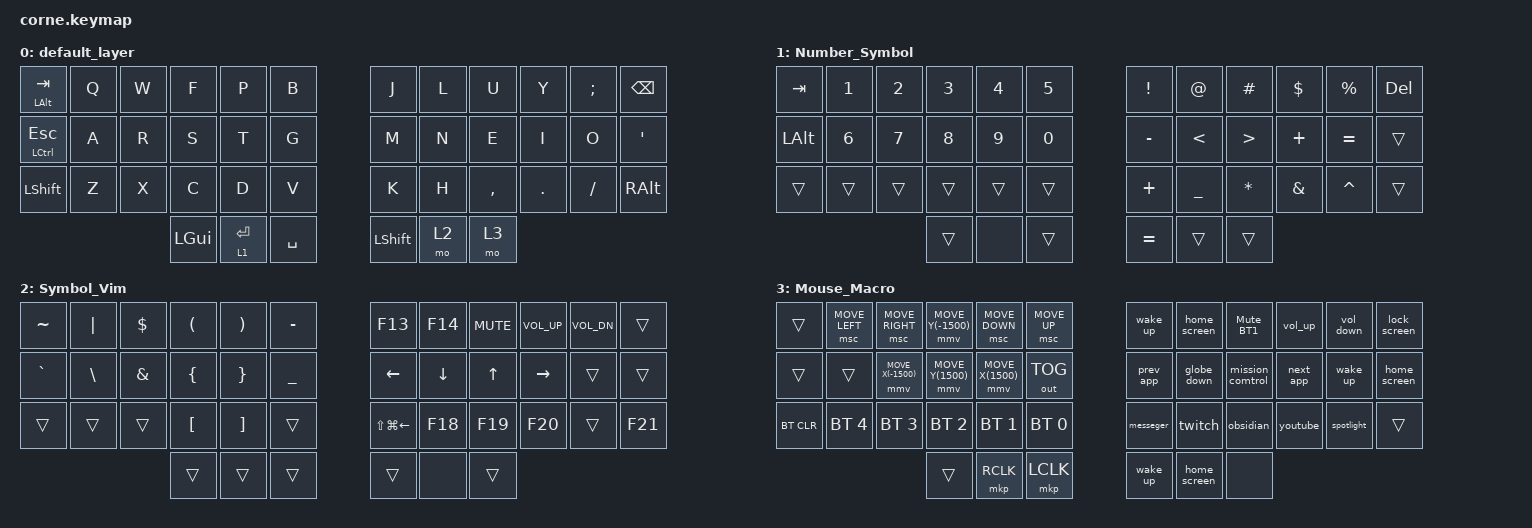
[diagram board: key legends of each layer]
/*
 * Copyright (c) 2020 The ZMK Contributors
 *
 * SPDX-License-Identifier: MIT
 */

#include <behaviors.dtsi>
#include <dt-bindings/zmk/bt.h>
#include <dt-bindings/zmk/keys.h>
#include <dt-bindings/zmk/mouse.h>
#include <dt-bindings/zmk/outputs.h>

/ {
    macros {
        Mute_BT1: Mute_BT1 {
            compatible = "zmk,behavior-macro";
            #binding-cells = <0>;
            bindings = <&out OUT_BLE &bt BT_SEL 1 &kp C_MUTE &bt BT_SEL 0 &out OUT_USB>;
            label = "MUTE_BT1";
        };

        home_screen: home_screen {
            compatible = "zmk,behavior-macro";
            #binding-cells = <0>;
            bindings = <&out OUT_BLE &bt BT_SEL 1 &kp LG(H) &bt BT_SEL 0 &out OUT_USB>;
            label = "HOME_SCREEN";
        };

        spotlight: spotlight {
            compatible = "zmk,behavior-macro";
            #binding-cells = <0>;
            bindings = <&out OUT_BLE &bt BT_SEL 1 &kp LG(SPACE)>;
            label = "SPOTLIGHT";
        };

        prev_app: globe_left {
            compatible = "zmk,behavior-macro";
            #binding-cells = <0>;
            bindings = <&out OUT_BLE &bt BT_SEL 1 &kp RA(LEFT) &bt BT_SEL 0 &out OUT_USB>;
            label = "GLOBE_LEFT";
        };

        next_app: globe_right {
            compatible = "zmk,behavior-macro";
            #binding-cells = <0>;
            bindings = <&out OUT_BLE &bt BT_SEL 1 &kp RA(RIGHT_ARROW) &bt BT_SEL 0 &out OUT_USB>;
            label = "GLOBE_RIGHT";
        };

        mission_comtrol: globe_up {
            compatible = "zmk,behavior-macro";
            #binding-cells = <0>;
            bindings = <&out OUT_BLE &bt BT_SEL 1 &kp RA(UP)>;
            label = "GLOBE_UP";
        };

        globe_down: globe_down {
            compatible = "zmk,behavior-macro";
            #binding-cells = <0>;
            bindings = <&out OUT_BLE &bt BT_SEL 1 &kp RA(DOWN)>;
            label = "GLOBE_DOWN";
        };

        vol_up: vol_up {
            compatible = "zmk,behavior-macro";
            #binding-cells = <0>;
            bindings = <&out OUT_BLE &bt BT_SEL 1 &kp C_VOLUME_UP &bt BT_SEL 0 &out OUT_USB>;
            label = "VOL_UP";
        };

        vol_down: vol_down {
            compatible = "zmk,behavior-macro";
            #binding-cells = <0>;
            bindings = <&out OUT_BLE &bt BT_SEL 1 &kp C_VOL_DN &bt BT_SEL 0 &out OUT_USB>;
            label = "VOL_DOWN";
        };

        lock_screen: lock_screen {
            compatible = "zmk,behavior-macro";
            #binding-cells = <0>;
            bindings = <&out OUT_BLE &bt BT_SEL 1 &kp LG(LC(Q)) &bt BT_SEL 0 &out OUT_USB>;
            label = "LOCK_SCREEN";
        };

        wake_up: wake_up {
            compatible = "zmk,behavior-macro";
            #binding-cells = <0>;
            bindings = <&out OUT_BLE &bt BT_SEL 1 &kp SPACE &kp SPACE &bt BT_SEL 0 &out OUT_USB>;
            label = "WAKE_UP";
        };

        messeger: messeger {
            compatible = "zmk,behavior-macro";
            #binding-cells = <0>;
            bindings = <&out OUT_BLE &bt BT_SEL 1 &kp LG(SPACE) &kp M &kp E &kp S &kp S &kp E &kp N &kp G &kp E &kp R &kp ENTER>;
            label = "MESSEGER";
        };

        obsidian: obsidian {
            compatible = "zmk,behavior-macro";
            #binding-cells = <0>;
            bindings = <&out OUT_BLE &bt BT_SEL 1 &kp LG(SPACE) &kp O &kp B &kp S &kp I &kp D &kp I &kp A &kp N &kp ENTER>;
            label = "OBSIDIAN";
        };

        twitch: twitch {
            compatible = "zmk,behavior-macro";
            #binding-cells = <0>;
            bindings = <&out OUT_BLE &bt BT_SEL 1 &kp LG(SPACE) &kp T &kp W &kp I &kp T &kp C &kp H &kp ENTER>;
            label = "TWITCH";
        };

        youtube: youtube {
            compatible = "zmk,behavior-macro";
            #binding-cells = <0>;
            bindings = <&out OUT_BLE &bt BT_SEL 1 &kp LG(SPACE) &kp Y &kp O &kp U &kp T &kp U &kp B &kp E &kp ENTER>;
            label = "YOUTUBE";
        };
    };

    keymap {
        compatible = "zmk,keymap";

        default_layer {
            bindings = <
&mt LALT TAB        &kp Q  &kp W  &kp F     &kp P      &kp B        &kp J      &kp L  &kp U      &kp Y    &kp SEMI  &kp BSPC
&mt LCTRL ESC  &kp A  &kp R  &kp S     &kp T      &kp G        &kp M      &kp N  &kp E      &kp I    &kp O     &kp SQT
&kp LSHFT      &kp Z  &kp X  &kp C     &kp D      &kp V        &kp K      &kp H  &kp COMMA  &kp DOT  &kp FSLH  &kp RALT
                             &kp LGUI     &lt 1 RET  &kp SPACE    &kp LSHFT  &mo 2  &mo 3
            >;
        };

        Number_Symbol {
            bindings = <
&kp TAB     &kp N1  &kp N2  &kp N3     &kp N4    &kp N5       &kp EXCL      &kp AT        &kp HASH      &kp DLLR      &kp PRCNT     &kp DELETE
&kp LALT    &kp N6  &kp N7  &kp N8     &kp N9    &kp N0       &kp MINUS     &kp LT        &kp GT        &kp PLUS      &kp EQUAL     &trans
&trans      &trans  &trans  &trans     &trans    &trans       &kp PLUS      &kp UNDER     &kp ASTRK     &kp AMPS      &kp CARET     &trans
                            &trans     &none     &trans       &kp EQUAL     &trans        &trans
            >;
        };

        Symbol_Vim {
            bindings = <
&kp TILDE  &kp PIPE       &kp DOLLAR  &kp LEFT_PARENTHESIS  &kp RIGHT_PARENTHESIS  &kp MINUS       &kp F13           &kp F14   &kp C_MUTE    &kp C_VOL_UP  &kp C_VOL_DN  &trans
&kp GRAVE  &kp BACKSLASH  &kp AMPS    &kp LEFT_BRACE        &kp RIGHT_BRACE        &kp UNDER       &kp LEFT          &kp DOWN  &kp UP_ARROW  &kp RIGHT     &trans        &trans
&trans     &trans         &trans      &kp LEFT_BRACKET      &kp RIGHT_BRACKET      &trans          &kp LS(LG(LEFT))  &kp F18   &kp F19       &kp F20       &trans        &kp F21
                                      &trans                &trans                 &trans          &trans            &none    &trans
            >;
        };

        Mouse_Macro {
            bindings = <
&trans     &msc MOVE_LEFT  &msc MOVE_RIGHT     &mmv MOVE_Y(-1500)  &msc MOVE_DOWN     &msc MOVE_UP    &wake_up   &home_screen  &Mute_BT1         &vol_up    &vol_down  &lock_screen
&trans     &trans          &mmv MOVE_X(-1500)  &mmv MOVE_Y(1500)   &mmv MOVE_X(1500)  &out OUT_TOG    &prev_app  &globe_down   &mission_comtrol  &next_app  &wake_up   &home_screen
&bt BT_CLR &bt BT_SEL 4    &bt BT_SEL 3        &bt BT_SEL 2        &bt BT_SEL 1       &bt BT_SEL 0    &messeger  &twitch       &obsidian         &youtube   &spotlight &trans
                                               &trans              &mkp RCLK          &mkp LCLK       &wake_up   &home_screen  &none
            >;
        };
    };
};
